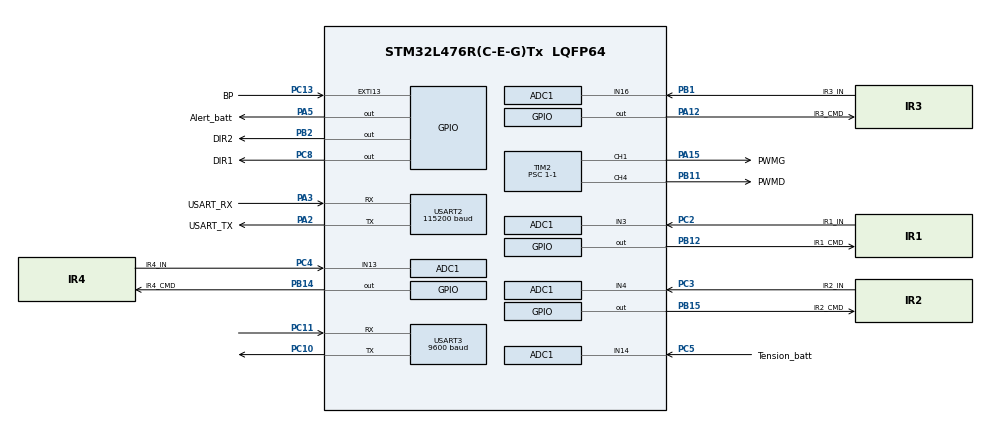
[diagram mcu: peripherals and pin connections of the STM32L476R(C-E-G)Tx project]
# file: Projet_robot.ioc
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ADC1.AWD1HighThreshold=4095
ADC1.AWD1ITMode=ENABLE
ADC1.AWD1LowThreshold=3723
ADC1.Channel-3\#ChannelRegularConversion=ADC_CHANNEL_3
ADC1.Channel-4\#ChannelRegularConversion=ADC_CHANNEL_4
ADC1.Channel-5\#ChannelRegularConversion=ADC_CHANNEL_16
ADC1.Channel-6\#ChannelRegularConversion=ADC_CHANNEL_13
ADC1.Channel-7\#ChannelRegularConversion=ADC_CHANNEL_14
ADC1.ClockPrescaler=ADC_CLOCK_ASYNC_DIV64
ADC1.EOCSelection=ADC_EOC_SINGLE_CONV
ADC1.EnableAnalogWatchDog1=true
ADC1.NbrOfConversion=5
ADC1.NbrOfConversionFlag=1
ADC1.OffsetNumber-3\#ChannelRegularConversion=ADC_OFFSET_NONE
ADC1.OffsetNumber-4\#ChannelRegularConversion=ADC_OFFSET_NONE
ADC1.OffsetNumber-5\#ChannelRegularConversion=ADC_OFFSET_NONE
ADC1.OffsetNumber-6\#ChannelRegularConversion=ADC_OFFSET_NONE
ADC1.OffsetNumber-7\#ChannelRegularConversion=ADC_OFFSET_NONE
ADC1.Overrun=ADC_OVR_DATA_OVERWRITTEN
ADC1.Rank-3\#ChannelRegularConversion=1
ADC1.Rank-4\#ChannelRegularConversion=2
ADC1.Rank-5\#ChannelRegularConversion=3
ADC1.Rank-6\#ChannelRegularConversion=4
ADC1.Rank-7\#ChannelRegularConversion=5
ADC1.SamplingTime-3\#ChannelRegularConversion=ADC_SAMPLETIME_640CYCLES_5
ADC1.SamplingTime-4\#ChannelRegularConversion=ADC_SAMPLETIME_640CYCLES_5
ADC1.SamplingTime-5\#ChannelRegularConversion=ADC_SAMPLETIME_640CYCLES_5
ADC1.SamplingTime-6\#ChannelRegularConversion=ADC_SAMPLETIME_640CYCLES_5
ADC1.SamplingTime-7\#ChannelRegularConversion=ADC_SAMPLETIME_640CYCLES_5
ADC1.WatchdogChannel=ADC_CHANNEL_14
ADC1.master=1
Mcu.Family=STM32L4
Mcu.Name=STM32L476R(C-E-G)Tx
Mcu.Package=LQFP64
NVIC.ADC1_2_IRQn=true\:0\:0\:false\:false\:true\:true\:true\:true
NVIC.EXTI15_10_IRQn=true\:0\:0\:false\:false\:true\:true\:true\:true
NVIC.PriorityGroup=NVIC_PRIORITYGROUP_4
NVIC.TIM6_DAC_IRQn=true\:0\:0\:false\:false\:true\:true\:true\:true
NVIC.TIM7_IRQn=true\:0\:0\:false\:false\:true\:true\:true\:true
NVIC.USART3_IRQn=true\:0\:0\:false\:false\:true\:true\:true\:true
PA12.GPIO_Label=IR3_CMD
PA12.Signal=GPIO_Output
PA13\ (JTMS-SWDIO).GPIO_Label=TMS
PA13\ (JTMS-SWDIO).Mode=Serial_Wire
PA13\ (JTMS-SWDIO).Signal=SYS_JTMS-SWDIO
PA14\ (JTCK-SWCLK).GPIO_Label=TCK
PA14\ (JTCK-SWCLK).Mode=Serial_Wire
PA14\ (JTCK-SWCLK).Signal=SYS_JTCK-SWCLK
PA15\ (JTDI).GPIO_Label=PWMG
PA15\ (JTDI).Signal=S_TIM2_CH1
PA2.GPIO_Label=USART_TX
PA2.GPIO_Mode=GPIO_MODE_AF_PP
PA2.GPIO_PuPd=GPIO_NOPULL
PA2.GPIO_Speed=GPIO_SPEED_FREQ_VERY_HIGH
PA2.Mode=Asynchronous
PA2.Signal=USART2_TX
PA3.GPIO_Label=USART_RX
PA3.GPIO_Mode=GPIO_MODE_AF_PP
PA3.GPIO_PuPd=GPIO_NOPULL
PA3.GPIO_Speed=GPIO_SPEED_FREQ_VERY_HIGH
PA3.Mode=Asynchronous
PA3.Signal=USART2_RX
PA5.GPIO_Label=Alert_batt
PA5.GPIO_ModeDefaultOutputPP=GPIO_MODE_OUTPUT_PP
PA5.GPIO_PuPd=GPIO_NOPULL
PA5.GPIO_Speed=GPIO_SPEED_FREQ_LOW
PA5.Signal=GPIO_Output
PB1.GPIO_Label=IR3_IN
PB1.Signal=ADCx_IN16
PB11.GPIO_Label=PWMD
PB11.Signal=S_TIM2_CH4
PB12.GPIO_Label=IR1_CMD
PB12.Signal=GPIO_Output
PB14.GPIO_Label=IR4_CMD
PB14.Signal=GPIO_Output
PB15.GPIO_Label=IR2_CMD
PB15.Signal=GPIO_Output
PB2.GPIO_Label=DIR2
PB2.Signal=GPIO_Output
PB3\ (JTDO-TRACESWO).GPIO_Label=SWO
PB3\ (JTDO-TRACESWO).Signal=SYS_JTDO-SWO
PC10.Mode=Asynchronous
PC10.Signal=USART3_TX
PC11.Mode=Asynchronous
PC11.Signal=USART3_RX
PC13.GPIO_Label=BP
PC13.GPIO_ModeDefaultEXTI=GPIO_MODE_IT_FALLING
PC13.GPIO_PuPd=GPIO_PULLDOWN
PC13.Signal=GPXTI13
PC14-OSC32_IN\ (PC14).Mode=LSE-External-Oscillator
PC14-OSC32_IN\ (PC14).Signal=RCC_OSC32_IN
PC15-OSC32_OUT\ (PC15).Mode=LSE-External-Oscillator
PC15-OSC32_OUT\ (PC15).Signal=RCC_OSC32_OUT
PC2.GPIO_Label=IR1_IN
PC2.Signal=ADCx_IN3
PC3.GPIO_Label=IR2_IN
PC3.Signal=ADCx_IN4
PC4.GPIO_Label=IR4_IN
PC4.Signal=ADCx_IN13
PC5.GPIO_Label=Tension_batt
PC5.Signal=ADCx_IN14
PC8.GPIO_Label=DIR1
PC8.Signal=GPIO_Output
PH0-OSC_IN\ (PH0).Signal=RCC_OSC_IN
PH1-OSC_OUT\ (PH1).Signal=RCC_OSC_OUT
ProjectManager.HeapSize=0x200
ProjectManager.StackSize=0x400
ProjectManager.TargetToolchain=STM32CubeIDE
RCC.ADCFreq_Value=16000000
RCC.FLatency-AdvancedSettings=FLASH_LATENCY_0
RCC.HSE_VALUE=8000000
RCC.HSI_VALUE=16000000
RCC.MSI_VALUE=4000000
RCC.PLLSAI1N=16
RCC.PLLSAI1R=RCC_PLLR_DIV4
RCC.USBFreq_Value=32000000
RCC.VCOOutputFreq_Value=32000000
SH.ADCx_IN13.0=ADC1_IN13,IN13-Single-Ended
SH.ADCx_IN14.0=ADC1_IN14,IN14-Single-Ended
SH.ADCx_IN16.0=ADC1_IN16,IN16-Single-Ended
SH.ADCx_IN3.0=ADC1_IN3,IN3-Single-Ended
SH.ADCx_IN4.0=ADC1_IN4,IN4-Single-Ended
SH.S_TIM2_CH1.0=TIM2_CH1,PWM Generation1 CH1
SH.S_TIM2_CH4.0=TIM2_CH4,PWM Generation4 CH4
TIM2.Channel-PWM\ Generation1\ CH1=TIM_CHANNEL_1
TIM2.Channel-PWM\ Generation4\ CH4=TIM_CHANNEL_4
TIM2.Period=2000
TIM2.Prescaler=1-1
TIM6.Period=61538-1
TIM6.Prescaler=13-1
TIM7.Period=40000
TIM7.Prescaler=1-1
USART2.BaudRate=115200
USART2.VirtualMode-Asynchronous=VM_ASYNC
USART3.BaudRate=9600
USART3.OverSampling=UART_OVERSAMPLING_8
USART3.SwapParam=ADVFEATURE_SWAP_DISABLE
USART3.VirtualMode-Asynchronous=VM_ASYNC
VP_TIM6_VS_ClockSourceINT.Mode=Enable_Timer
VP_TIM7_VS_ClockSourceINT.Mode=Enable_Timer
board=NUCLEO-L476RG

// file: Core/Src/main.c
/* USER CODE BEGIN Header */
/**
  ******************************************************************************
  * @file           : main.c
  * @brief          : Main program body
  ******************************************************************************
  * @attention
  *
  * Copyright (c) 2024 STMicroelectronics.
  * All rights reserved.
  *
  * This software is licensed under terms that can be found in the LICENSE file
  * in the root directory of this software component.
  * If no LICENSE file comes with this software, it is provided AS-IS.
  *
  ******************************************************************************
  */
/* USER CODE END Header */
#include "main.h"

/* USER CODE BEGIN Includes */
#include <stdbool.h>
#include<stdio.h>
#include<stdlib.h>
#include <math.h>

/* USER CODE END Includes */

/* USER CODE BEGIN PD */
#define vmax_counter 2000
#define vmax 2780//2304//en um/s car 4,34 s/m   // 27.8 m/s en théorie
#define max_accel 10//en um/10ms donc cm/s        10um/10ms soit 1000 um/s
//on actualise ttes les 5ms
//l'accel max dans ce temps est : max_accel*

/* USER CODE END PD */

ADC_HandleTypeDef hadc1;

TIM_HandleTypeDef htim2;
TIM_HandleTypeDef htim6;
TIM_HandleTypeDef htim7;

UART_HandleTypeDef huart2;
UART_HandleTypeDef huart3;

/* USER CODE BEGIN PV */
int target_speed = 0;
uint16_t Batt_value;

volatile char cnt_adc_scan = 0;
volatile uint16_t FL_value = 0, BL_value = 0, FR_value = 0, BR_value = 0;
volatile uint16_t ADC_current_value = 0;

bool GO = false;
volatile uint8_t adc_on,nb = 0;

// UART
int flag_uart;
unsigned char Rx_buffer;

char uart_direction;

int d_right, d_left;//distance à droite, distance à gauche
int flag_uart = 0;
int dist_detection = 20;
int nominal_speed;
int speed_left;
int speed_right;
int nominal_target_speed_counter;

bool period_elapsed;

uint32_t last_trigger_bp  =0;

char msg[80];

/* USER CODE END PV */

void SystemClock_Config(void);
static void MX_GPIO_Init(void);
static void MX_ADC1_Init(void);
static void MX_TIM2_Init(void);
static void MX_TIM6_Init(void);
static void MX_USART3_UART_Init(void);
static void MX_TIM7_Init(void);
static void MX_USART2_UART_Init(void);
/* USER CODE BEGIN PFP */

void capteur_mur(void);
bool get_direction(int speed);
int compute_speed(int currentSpeed, int speedTarget);
int speed_to_ARR(int speed);
/* USER CODE END PFP */

int main(void)
{

  /* MCU Configuration--------------------------------------------------------*/

  /* Reset of all peripherals, Initializes the Flash interface and the Systick. */
  HAL_Init();

  /* Configure the system clock */
  SystemClock_Config();

  /* Initialize all configured peripherals */
  MX_GPIO_Init();
  MX_ADC1_Init();
  MX_TIM2_Init();
  MX_TIM6_Init();
  MX_USART3_UART_Init();
  MX_TIM7_Init();
  MX_USART2_UART_Init();
  /* USER CODE BEGIN 2 */

  	nominal_speed = 1000;
	nominal_target_speed_counter = vmax_counter*nominal_speed/vmax;

	//target_speed = 0;

	HAL_TIM_PWM_Start(&htim2, TIM_CHANNEL_1);
	HAL_TIM_PWM_Start(&htim2, TIM_CHANNEL_4);
	__HAL_TIM_SET_COMPARE(&htim2,TIM_CHANNEL_1, 0);
	__HAL_TIM_SET_COMPARE(&htim2,TIM_CHANNEL_4, 0);
	//HAL_GPIO_WritePin(Alert_batt_GPIO_Port, Alert_batt_Pin, GPIO_PIN_SET);
	HAL_TIM_Base_Start_IT(&htim6);
	HAL_TIM_Base_Start_IT(&htim7);
	//HAL_UART_Transmit_IT(&huart3, (uint8_t)tab, sizeof(tab));
	HAL_UART_Receive_IT(&huart3, &Rx_buffer, 1);

	d_right = 100;
	d_left = 100;//On initialise dd et dg à une valeur supérieure au seuil. Ils serons modifiés dès le premier lancement de l'ADC.

	bool detection_ended = false;

	//HAL_ADC_Start_IT(&hadc1);

  /* USER CODE END 2 */

  /* Infinite loop */
  /* USER CODE BEGIN WHILE */
	//HAL_ADC_Start_IT(&hadc1);
  while (1)
  {
	  HAL_GPIO_WritePin(IR1_CMD_GPIO_Port, IR1_CMD_Pin, GPIO_PIN_SET);
	  HAL_GPIO_WritePin(IR4_CMD_GPIO_Port, IR4_CMD_Pin, GPIO_PIN_SET);
	  HAL_GPIO_WritePin(IR2_CMD_GPIO_Port, IR2_CMD_Pin, GPIO_PIN_SET);
	  HAL_GPIO_WritePin(IR3_CMD_GPIO_Port, IR3_CMD_Pin, GPIO_PIN_SET);

	  if(GO)
	  {
		  // Les leds seront tout le temps allumées pour éviter les perturbations
		  if(d_right < dist_detection || d_left < dist_detection) // mur détecté
		  {
			  capteur_mur();

			  //On mets brièvement la PWM à 0
			 // __HAL_TIM_SET_COMPARE(&htim2,TIM_CHANNEL_1, 0);//moteur gauche
			 //__HAL_TIM_SET_COMPARE(&htim2,TIM_CHANNEL_4, 0);//moteur droit

			  detection_ended = true;
		  }
		  else if(period_elapsed || detection_ended)
		  {
			  period_elapsed = false;
			  detection_ended = false;

			switch (uart_direction)
			{
			   case 'F'://Front
			   {
				   speed_left = compute_speed(speed_left, nominal_speed);
				   speed_right = compute_speed(speed_right, nominal_speed);
				  break;
			   }
			   case 'B': //back
			   {
				   speed_left = compute_speed(speed_left, -nominal_speed);
				   speed_right = compute_speed(speed_right, -nominal_speed);

				   break;
			   }
			   case 'L' ://left
			   {
				      speed_left = compute_speed(speed_left, +nominal_speed);
					  speed_right = compute_speed(speed_right, -nominal_speed);

				   break;
			   }
			   case 'R' : //right
			   {
				     speed_left = compute_speed(speed_left, -nominal_speed);
				     speed_right = compute_speed(speed_right, +nominal_speed);

				    break;
			   }
			   case 'W' ://Appel de phare, mode super_vitesse
			   {
				   speed_left = compute_speed(speed_left, vmax);
				   speed_right = compute_speed(speed_right, vmax);
				   break;
			   }
			   case 'X' ://Warning : stop
			   {
				   speed_left = compute_speed(speed_left, 0);
				   speed_right = compute_speed(speed_right, 0);
				  break;
			   }
			   default :
			   {
				   speed_left = compute_speed(speed_left, 0);
				   speed_right = compute_speed(speed_right, 0);
			   }
			}

			// on applique sur la PWM et sur le choix de la direction la vitesse calculée précedemment
			 HAL_GPIO_WritePin(DIR1_GPIO_Port, DIR1_Pin, get_direction(speed_left));//moteur droit
		     HAL_GPIO_WritePin(DIR2_GPIO_Port, DIR2_Pin, get_direction(speed_right));//moteur droit
		     __HAL_TIM_SET_COMPARE(&htim2,TIM_CHANNEL_1, speed_to_ARR(speed_left));//moteur gauche
		     __HAL_TIM_SET_COMPARE(&htim2,TIM_CHANNEL_4, speed_to_ARR(speed_right));//moteur droit
}
	  }
	  else
	  {
		  __HAL_TIM_SET_COMPARE(&htim2,TIM_CHANNEL_1, 0);
		  	__HAL_TIM_SET_COMPARE(&htim2,TIM_CHANNEL_4, 0);
		  	//flag_uart = 0; //plus utile
	  }

    /* USER CODE END WHILE */

  }
}

void SystemClock_Config(void)
{
  RCC_OscInitTypeDef RCC_OscInitStruct = {0};
  RCC_ClkInitTypeDef RCC_ClkInitStruct = {0};

  /** Configure the main internal regulator output voltage
  */
  if (HAL_PWREx_ControlVoltageScaling(PWR_REGULATOR_VOLTAGE_SCALE1) != HAL_OK)
  {
    Error_Handler();
  }

  /** Configure LSE Drive Capability
  */
  HAL_PWR_EnableBkUpAccess();
  __HAL_RCC_LSEDRIVE_CONFIG(RCC_LSEDRIVE_LOW);

  /** Initializes the RCC Oscillators according to the specified parameters
  * in the RCC_OscInitTypeDef structure.
  */
  RCC_OscInitStruct.OscillatorType = RCC_OSCILLATORTYPE_LSE|RCC_OSCILLATORTYPE_MSI;
  RCC_OscInitStruct.LSEState = RCC_LSE_ON;
  RCC_OscInitStruct.MSIState = RCC_MSI_ON;
  RCC_OscInitStruct.MSICalibrationValue = 0;
  RCC_OscInitStruct.MSIClockRange = RCC_MSIRANGE_6;
  RCC_OscInitStruct.PLL.PLLState = RCC_PLL_NONE;
  if (HAL_RCC_OscConfig(&RCC_OscInitStruct) != HAL_OK)
  {
    Error_Handler();
  }

  /** Initializes the CPU, AHB and APB buses clocks
  */
  RCC_ClkInitStruct.ClockType = RCC_CLOCKTYPE_HCLK|RCC_CLOCKTYPE_SYSCLK
                              |RCC_CLOCKTYPE_PCLK1|RCC_CLOCKTYPE_PCLK2;
  RCC_ClkInitStruct.SYSCLKSource = RCC_SYSCLKSOURCE_MSI;
  RCC_ClkInitStruct.AHBCLKDivider = RCC_SYSCLK_DIV1;
  RCC_ClkInitStruct.APB1CLKDivider = RCC_HCLK_DIV1;
  RCC_ClkInitStruct.APB2CLKDivider = RCC_HCLK_DIV1;

  if (HAL_RCC_ClockConfig(&RCC_ClkInitStruct, FLASH_LATENCY_0) != HAL_OK)
  {
    Error_Handler();
  }

  /** Enable MSI Auto calibration
  */
  HAL_RCCEx_EnableMSIPLLMode();
}

static void MX_ADC1_Init(void)
{

  ADC_MultiModeTypeDef multimode = {0};
  ADC_AnalogWDGConfTypeDef AnalogWDGConfig = {0};
  ADC_ChannelConfTypeDef sConfig = {0};

  /** Common config
  */
  hadc1.Instance = ADC1;
  hadc1.Init.ClockPrescaler = ADC_CLOCK_ASYNC_DIV64;
  hadc1.Init.Resolution = ADC_RESOLUTION_12B;
  hadc1.Init.DataAlign = ADC_DATAALIGN_RIGHT;
  hadc1.Init.ScanConvMode = ADC_SCAN_ENABLE;
  hadc1.Init.EOCSelection = ADC_EOC_SINGLE_CONV;
  hadc1.Init.LowPowerAutoWait = DISABLE;
  hadc1.Init.ContinuousConvMode = DISABLE;
  hadc1.Init.NbrOfConversion = 5;
  hadc1.Init.DiscontinuousConvMode = DISABLE;
  hadc1.Init.ExternalTrigConv = ADC_SOFTWARE_START;
  hadc1.Init.ExternalTrigConvEdge = ADC_EXTERNALTRIGCONVEDGE_NONE;
  hadc1.Init.DMAContinuousRequests = DISABLE;
  hadc1.Init.Overrun = ADC_OVR_DATA_OVERWRITTEN;
  hadc1.Init.OversamplingMode = DISABLE;
  if (HAL_ADC_Init(&hadc1) != HAL_OK)
  {
    Error_Handler();
  }

  /** Configure the ADC multi-mode
  */
  multimode.Mode = ADC_MODE_INDEPENDENT;
  if (HAL_ADCEx_MultiModeConfigChannel(&hadc1, &multimode) != HAL_OK)
  {
    Error_Handler();
  }

  /** Configure Analog WatchDog 1
  */
  AnalogWDGConfig.WatchdogNumber = ADC_ANALOGWATCHDOG_1;
  AnalogWDGConfig.WatchdogMode = ADC_ANALOGWATCHDOG_SINGLE_REG;
  AnalogWDGConfig.Channel = ADC_CHANNEL_14;
  AnalogWDGConfig.ITMode = ENABLE;
  AnalogWDGConfig.HighThreshold = 4095;
  AnalogWDGConfig.LowThreshold = 3723;
  if (HAL_ADC_AnalogWDGConfig(&hadc1, &AnalogWDGConfig) != HAL_OK)
  {
    Error_Handler();
  }

  /** Configure Regular Channel
  */
  sConfig.Channel = ADC_CHANNEL_3;
  sConfig.Rank = ADC_REGULAR_RANK_1;
  sConfig.SamplingTime = ADC_SAMPLETIME_640CYCLES_5;
  sConfig.SingleDiff = ADC_SINGLE_ENDED;
  sConfig.OffsetNumber = ADC_OFFSET_NONE;
  sConfig.Offset = 0;
  if (HAL_ADC_ConfigChannel(&hadc1, &sConfig) != HAL_OK)
  {
    Error_Handler();
  }

  /** Configure Regular Channel
  */
  sConfig.Channel = ADC_CHANNEL_4;
  sConfig.Rank = ADC_REGULAR_RANK_2;
  if (HAL_ADC_ConfigChannel(&hadc1, &sConfig) != HAL_OK)
  {
    Error_Handler();
  }

  /** Configure Regular Channel
  */
  sConfig.Channel = ADC_CHANNEL_16;
  sConfig.Rank = ADC_REGULAR_RANK_3;
  if (HAL_ADC_ConfigChannel(&hadc1, &sConfig) != HAL_OK)
  {
    Error_Handler();
  }

  /** Configure Regular Channel
  */
  sConfig.Channel = ADC_CHANNEL_13;
  sConfig.Rank = ADC_REGULAR_RANK_4;
  if (HAL_ADC_ConfigChannel(&hadc1, &sConfig) != HAL_OK)
  {
    Error_Handler();
  }

  /** Configure Regular Channel
  */
  sConfig.Channel = ADC_CHANNEL_14;
  sConfig.Rank = ADC_REGULAR_RANK_5;
  if (HAL_ADC_ConfigChannel(&hadc1, &sConfig) != HAL_OK)
  {
    Error_Handler();
  }

}

static void MX_TIM2_Init(void)
{

  TIM_MasterConfigTypeDef sMasterConfig = {0};
  TIM_OC_InitTypeDef sConfigOC = {0};

  htim2.Instance = TIM2;
  htim2.Init.Prescaler = 1-1;
  htim2.Init.CounterMode = TIM_COUNTERMODE_UP;
  htim2.Init.Period = 2000;
  htim2.Init.ClockDivision = TIM_CLOCKDIVISION_DIV1;
  htim2.Init.AutoReloadPreload = TIM_AUTORELOAD_PRELOAD_DISABLE;
  if (HAL_TIM_PWM_Init(&htim2) != HAL_OK)
  {
    Error_Handler();
  }
  sMasterConfig.MasterOutputTrigger = TIM_TRGO_RESET;
  sMasterConfig.MasterSlaveMode = TIM_MASTERSLAVEMODE_DISABLE;
  if (HAL_TIMEx_MasterConfigSynchronization(&htim2, &sMasterConfig) != HAL_OK)
  {
    Error_Handler();
  }
  sConfigOC.OCMode = TIM_OCMODE_PWM1;
  sConfigOC.Pulse = 0;
  sConfigOC.OCPolarity = TIM_OCPOLARITY_HIGH;
  sConfigOC.OCFastMode = TIM_OCFAST_DISABLE;
  if (HAL_TIM_PWM_ConfigChannel(&htim2, &sConfigOC, TIM_CHANNEL_1) != HAL_OK)
  {
    Error_Handler();
  }
  if (HAL_TIM_PWM_ConfigChannel(&htim2, &sConfigOC, TIM_CHANNEL_4) != HAL_OK)
  {
    Error_Handler();
  }
  HAL_TIM_MspPostInit(&htim2);

}

static void MX_TIM6_Init(void)
{

  TIM_MasterConfigTypeDef sMasterConfig = {0};

  htim6.Instance = TIM6;
  htim6.Init.Prescaler = 13-1;
  htim6.Init.CounterMode = TIM_COUNTERMODE_UP;
  htim6.Init.Period = 61538-1;
  htim6.Init.AutoReloadPreload = TIM_AUTORELOAD_PRELOAD_DISABLE;
  if (HAL_TIM_Base_Init(&htim6) != HAL_OK)
  {
    Error_Handler();
  }
  sMasterConfig.MasterOutputTrigger = TIM_TRGO_RESET;
  sMasterConfig.MasterSlaveMode = TIM_MASTERSLAVEMODE_DISABLE;
  if (HAL_TIMEx_MasterConfigSynchronization(&htim6, &sMasterConfig) != HAL_OK)
  {
    Error_Handler();
  }

}

static void MX_TIM7_Init(void)
{

  TIM_MasterConfigTypeDef sMasterConfig = {0};

  htim7.Instance = TIM7;
  htim7.Init.Prescaler = 1-1;
  htim7.Init.CounterMode = TIM_COUNTERMODE_UP;
  htim7.Init.Period = 40000;
  htim7.Init.AutoReloadPreload = TIM_AUTORELOAD_PRELOAD_DISABLE;
  if (HAL_TIM_Base_Init(&htim7) != HAL_OK)
  {
    Error_Handler();
  }
  sMasterConfig.MasterOutputTrigger = TIM_TRGO_RESET;
  sMasterConfig.MasterSlaveMode = TIM_MASTERSLAVEMODE_DISABLE;
  if (HAL_TIMEx_MasterConfigSynchronization(&htim7, &sMasterConfig) != HAL_OK)
  {
    Error_Handler();
  }

}

static void MX_USART2_UART_Init(void)
{

  huart2.Instance = USART2;
  huart2.Init.BaudRate = 115200;
  huart2.Init.WordLength = UART_WORDLENGTH_8B;
  huart2.Init.StopBits = UART_STOPBITS_1;
  huart2.Init.Parity = UART_PARITY_NONE;
  huart2.Init.Mode = UART_MODE_TX_RX;
  huart2.Init.HwFlowCtl = UART_HWCONTROL_NONE;
  huart2.Init.OverSampling = UART_OVERSAMPLING_16;
  huart2.Init.OneBitSampling = UART_ONE_BIT_SAMPLE_DISABLE;
  huart2.AdvancedInit.AdvFeatureInit = UART_ADVFEATURE_NO_INIT;
  if (HAL_UART_Init(&huart2) != HAL_OK)
  {
    Error_Handler();
  }

}

static void MX_USART3_UART_Init(void)
{

  huart3.Instance = USART3;
  huart3.Init.BaudRate = 9600;
  huart3.Init.WordLength = UART_WORDLENGTH_8B;
  huart3.Init.StopBits = UART_STOPBITS_1;
  huart3.Init.Parity = UART_PARITY_NONE;
  huart3.Init.Mode = UART_MODE_TX_RX;
  huart3.Init.HwFlowCtl = UART_HWCONTROL_NONE;
  huart3.Init.OverSampling = UART_OVERSAMPLING_8;
  huart3.Init.OneBitSampling = UART_ONE_BIT_SAMPLE_DISABLE;
  huart3.AdvancedInit.AdvFeatureInit = UART_ADVFEATURE_NO_INIT;
  if (HAL_UART_Init(&huart3) != HAL_OK)
  {
    Error_Handler();
  }

}

static void MX_GPIO_Init(void)
{
  GPIO_InitTypeDef GPIO_InitStruct = {0};

  /* GPIO Ports Clock Enable */
  __HAL_RCC_GPIOC_CLK_ENABLE();
  __HAL_RCC_GPIOH_CLK_ENABLE();
  __HAL_RCC_GPIOA_CLK_ENABLE();
  __HAL_RCC_GPIOB_CLK_ENABLE();

  /*Configure GPIO pin Output Level */
  HAL_GPIO_WritePin(GPIOA, Alert_batt_Pin|IR3_CMD_Pin, GPIO_PIN_RESET);

  /*Configure GPIO pin Output Level */
  HAL_GPIO_WritePin(GPIOB, DIR2_Pin|IR1_CMD_Pin|IR4_CMD_Pin|IR2_CMD_Pin, GPIO_PIN_RESET);

  /*Configure GPIO pin Output Level */
  HAL_GPIO_WritePin(DIR1_GPIO_Port, DIR1_Pin, GPIO_PIN_RESET);

  /*Configure GPIO pin : BP_Pin */
  GPIO_InitStruct.Pin = BP_Pin;
  GPIO_InitStruct.Mode = GPIO_MODE_IT_FALLING;
  GPIO_InitStruct.Pull = GPIO_PULLDOWN;
  HAL_GPIO_Init(BP_GPIO_Port, &GPIO_InitStruct);

  /*Configure GPIO pins : Alert_batt_Pin IR3_CMD_Pin */
  GPIO_InitStruct.Pin = Alert_batt_Pin|IR3_CMD_Pin;
  GPIO_InitStruct.Mode = GPIO_MODE_OUTPUT_PP;
  GPIO_InitStruct.Pull = GPIO_NOPULL;
  GPIO_InitStruct.Speed = GPIO_SPEED_FREQ_LOW;
  HAL_GPIO_Init(GPIOA, &GPIO_InitStruct);

  /*Configure GPIO pins : DIR2_Pin IR1_CMD_Pin IR4_CMD_Pin IR2_CMD_Pin */
  GPIO_InitStruct.Pin = DIR2_Pin|IR1_CMD_Pin|IR4_CMD_Pin|IR2_CMD_Pin;
  GPIO_InitStruct.Mode = GPIO_MODE_OUTPUT_PP;
  GPIO_InitStruct.Pull = GPIO_NOPULL;
  GPIO_InitStruct.Speed = GPIO_SPEED_FREQ_LOW;
  HAL_GPIO_Init(GPIOB, &GPIO_InitStruct);

  /*Configure GPIO pin : DIR1_Pin */
  GPIO_InitStruct.Pin = DIR1_Pin;
  GPIO_InitStruct.Mode = GPIO_MODE_OUTPUT_PP;
  GPIO_InitStruct.Pull = GPIO_NOPULL;
  GPIO_InitStruct.Speed = GPIO_SPEED_FREQ_LOW;
  HAL_GPIO_Init(DIR1_GPIO_Port, &GPIO_InitStruct);

  /* EXTI interrupt init*/
  HAL_NVIC_SetPriority(EXTI15_10_IRQn, 0, 0);
  HAL_NVIC_EnableIRQ(EXTI15_10_IRQn);

}

/* USER CODE BEGIN 4 */
void HAL_TIM_PeriodElapsedCallback(TIM_HandleTypeDef *htim)//l'origine de l'interruption est donnée
{
	if(htim->Instance == TIM6)
	{
		/*Si nous avions voulu allumer les leds infra, ce serait ici */
		HAL_ADC_Start_IT(&hadc1);
	}
	if(htim->Instance == TIM7)
	{
		period_elapsed = true;
	}
}

int adc_value_to_dist(float a, float b, int p)
{
	//int dist = (int)((1.0f/a)*log(b/((float)p))); // regression exponentielle
	int dist = powf(b/(float)p, 1/a);// regression "puissance"
	return dist;
}

int compute_speed(int currentSpeed, int speedTarget)
{
	int nextSpeed;
	int diff = abs(speedTarget - currentSpeed);
		if(speedTarget > currentSpeed)
		{
			if(speedTarget <= 0)
			{
				if(diff > max_accel) diff = max_accel;
				nextSpeed = currentSpeed + diff;
			}
			else
			{
				if(diff > max_accel) diff = max_accel;

				nextSpeed = currentSpeed + diff;
			}
		}
		else if(speedTarget < currentSpeed)
		{
			if(speedTarget < 0)
			{
				if(diff > max_accel)
					diff = max_accel;
				nextSpeed = currentSpeed - diff;
			}
			else
			{
				if(diff > max_accel)
					diff = max_accel;
				nextSpeed = currentSpeed - diff;
			}
		}
		else
		{
			nextSpeed = currentSpeed;
		}

		/*if(abs(nextSpeed) > maxSpeed) //necessaire si on veut une vitess
		{
			nextSpeed = nextSpeed/abs(nextSpeed) * maxSpeed;
		}*/
		return nextSpeed;
}

int speed_to_ARR(int speed)
{
	int nominal_target_speed_counter = vmax_counter*abs(speed)/vmax;//en valeur absolue
	return nominal_target_speed_counter;
}

bool get_direction(int speed)
{
    return speed > 0 ? 1 : 0;
}

void HAL_ADC_ConvCpltCallback(ADC_HandleTypeDef *hadc)
{
		//sprintf(msg, "Tension batterie = %d, vitesse droite = %d, vitesse gauche = %d\r\n",Batt_value, speed_right, speed_left);
		//HAL_UART_Transmit(&huart2, (uint8_t*) msg, sizeof(msg), HAL_MAX_DELAY);

	  if(cnt_adc_scan == 0)//gauche
		  {
			  FR_value = HAL_ADC_GetValue(&hadc1);
			  d_right = adc_value_to_dist(0.942,4937.5, FR_value);//TODO ici modifier coeffs

		  }
		if(cnt_adc_scan == 1)//droite
		  {
			FL_value = HAL_ADC_GetValue(&hadc1);
			d_left = adc_value_to_dist(0.942,4937.5, FL_value); // TODO ici modifier coeffs
		  }
		if(cnt_adc_scan == 2)
		  {
			  BL_value = HAL_ADC_GetValue(&hadc1);
		  }
		  if(cnt_adc_scan == 3)
		  {
			  BR_value = HAL_ADC_GetValue(&hadc1);
		  }
		  if(cnt_adc_scan == 4)
		  {
			  Batt_value = HAL_ADC_GetValue(&hadc1);//Ce get_value n'est pas nécessaire,
			  //nous le récupérons quand même à des fins de déboguage puisque nous
			  //faisons déjà un scan
			  cnt_adc_scan=-1;
		  }
		cnt_adc_scan = cnt_adc_scan+1;

}

void HAL_ADC_LevelOutOfWindowCallback(ADC_HandleTypeDef* hadc)
{
  HAL_GPIO_WritePin(Alert_batt_GPIO_Port, Alert_batt_Pin, GPIO_PIN_SET);
}

//inversion du booléen GO lors d'un appui sur le bouton bleu
void HAL_GPIO_EXTI_Callback(uint16_t GPIO_Pin)
{
	uint32_t actual_time = HAL_GetTick();

	if (GPIO_Pin == BP_Pin  && actual_time - last_trigger_bp > 7)//plus logique vers les centaines de ms
	{
		GO = !GO;
		last_trigger_bp = actual_time;
	}
}

void HAL_UART_RxCpltCallback(UART_HandleTypeDef *huart)
{
	if(huart->Instance == USART3)
	{
		if(flag_uart % 2 ==0)
		{
			if(Rx_buffer != 'S')
				sscanf(&Rx_buffer, "%c",&uart_direction);
		}

		HAL_UART_Receive_IT(&huart3, &Rx_buffer, 1);//on relance après réception
		UNUSED(huart);
		if(Rx_buffer != 'D'){
			//si on se déconnecte et reconnecte il envoie un D pour indiquer qu'il
			//y a eu une connexion. Ce D ne doit donc pas être pris en compte comme une commande
			flag_uart++;
		}

	}
	//uint8_t *coucou;
 //sscanf(Rx_buffer, "%hhu", coucou );
}

void capteur_mur()//d1 = d_left et d2 = d_right
{
	bool avoidance_ended = false;
	int diff;
	while(!avoidance_ended && GO)
	{
		diff = d_left - d_right;//on recalcule à chaque fois
		if(d_left <= dist_detection && d_right <= dist_detection)//bloqué dans un coin
		{
			   HAL_GPIO_WritePin(DIR1_GPIO_Port, DIR1_Pin, 0);//droit
			   HAL_GPIO_WritePin(DIR2_GPIO_Port, DIR2_Pin, 0);//gauche
			   __HAL_TIM_SET_COMPARE(&htim2,TIM_CHANNEL_1, nominal_target_speed_counter);//moteur gauche
			   __HAL_TIM_SET_COMPARE(&htim2,TIM_CHANNEL_4, nominal_target_speed_counter);//moteur droit
		}
		else if(diff >= 0)//mur à droite, on tourne à gauche
			//Si le mur est en face on choisit d'aller à gauche
		{
			   HAL_GPIO_WritePin(DIR1_GPIO_Port, DIR1_Pin, 1);//droit
			   HAL_GPIO_WritePin(DIR2_GPIO_Port, DIR2_Pin, 0);//gauche
			   __HAL_TIM_SET_COMPARE(&htim2,TIM_CHANNEL_1, nominal_target_speed_counter);//moteur gauche
			   __HAL_TIM_SET_COMPARE(&htim2,TIM_CHANNEL_4, nominal_target_speed_counter);//moteur droit
		}
		else if(diff < 0) //mur à gauche on tourne à droite
		{
			   HAL_GPIO_WritePin(DIR1_GPIO_Port, DIR1_Pin, 0);//droit
			   HAL_GPIO_WritePin(DIR2_GPIO_Port, DIR2_Pin, 1);//gauche
			   __HAL_TIM_SET_COMPARE(&htim2,TIM_CHANNEL_1, nominal_target_speed_counter);//moteur gauche
			   __HAL_TIM_SET_COMPARE(&htim2,TIM_CHANNEL_4, nominal_target_speed_counter);//moteur droit
		}
		if(d_right > dist_detection && d_left > dist_detection)
		 	avoidance_ended = true;
	}
}

/* USER CODE END 4 */

void Error_Handler(void)
{
  __disable_irq();
  while (1)
  {
  }
}
